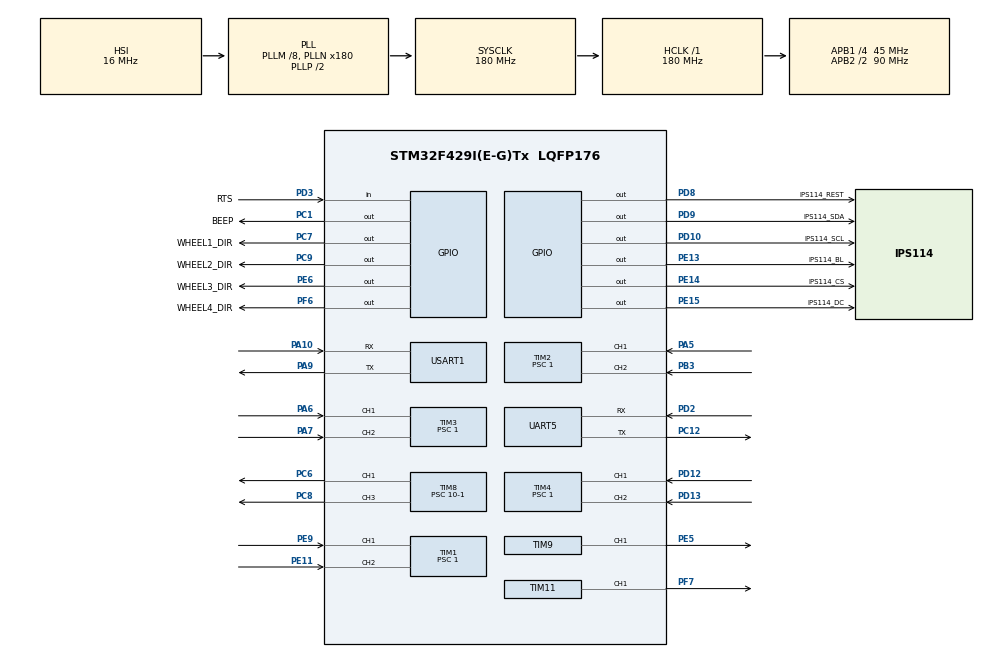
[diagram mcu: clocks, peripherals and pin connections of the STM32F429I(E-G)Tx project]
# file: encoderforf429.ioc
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Mcu.Family=STM32F4
Mcu.Name=STM32F429I(E-G)Tx
Mcu.Package=LQFP176
NVIC.PriorityGroup=NVIC_PRIORITYGROUP_4
NVIC.TIM5_IRQn=true\:0\:0\:false\:false\:true\:true\:true
NVIC.UART5_IRQn=true\:0\:0\:false\:false\:true\:true\:true
PA10.Mode=Asynchronous
PA10.Signal=USART1_RX
PA13.Mode=Serial_Wire
PA13.Signal=SYS_JTMS-SWDIO
PA14.Mode=Serial_Wire
PA14.Signal=SYS_JTCK-SWCLK
PA5.Signal=S_TIM2_CH1_ETR
PA6.Signal=S_TIM3_CH1
PA7.Signal=S_TIM3_CH2
PA9.Mode=Asynchronous
PA9.Signal=USART1_TX
PB3.Signal=S_TIM2_CH2
PC1.GPIO_Label=BEEP
PC1.Signal=GPIO_Output
PC12.Mode=Asynchronous
PC12.Signal=UART5_TX
PC6.Signal=S_TIM8_CH1
PC7.GPIO_Label=WHEEL1_DIR
PC7.Signal=GPIO_Output
PC8.Signal=S_TIM8_CH3
PC9.GPIO_Label=WHEEL2_DIR
PC9.Signal=GPIO_Output
PD10.GPIO_Label=IPS114_SCL
PD10.Signal=GPIO_Output
PD12.Signal=S_TIM4_CH1
PD13.Signal=S_TIM4_CH2
PD2.Mode=Asynchronous
PD2.Signal=UART5_RX
PD3.GPIO_Label=RTS
PD3.Signal=GPIO_Input
PD8.GPIO_Label=IPS114_REST
PD8.Signal=GPIO_Output
PD9.GPIO_Label=IPS114_SDA
PD9.Signal=GPIO_Output
PE11.Signal=S_TIM1_CH2
PE13.GPIO_Label=IPS114_BL
PE13.Signal=GPIO_Output
PE14.GPIO_Label=IPS114_CS
PE14.Signal=GPIO_Output
PE15.GPIO_Label=IPS114_DC
PE15.Signal=GPIO_Output
PE5.Signal=S_TIM9_CH1
PE6.GPIO_Label=WHEEL3_DIR
PE6.Signal=GPIO_Output
PE9.Signal=S_TIM1_CH1
PF6.GPIO_Label=WHEEL4_DIR
PF6.Signal=GPIO_Output
PF7.Signal=S_TIM11_CH1
PH0/OSC_IN.Mode=HSE-External-Oscillator
PH0/OSC_IN.Signal=RCC_OSC_IN
PH1/OSC_OUT.Mode=HSE-External-Oscillator
PH1/OSC_OUT.Signal=RCC_OSC_OUT
ProjectManager.HeapSize=0x200
ProjectManager.StackSize=0x400
ProjectManager.TargetToolchain=MDK-ARM V5.27
RCC.48MHZClocksFreq_Value=90000000
RCC.AHBFreq_Value=180000000
RCC.APB1CLKDivider=RCC_HCLK_DIV4
RCC.APB1Freq_Value=45000000
RCC.APB1TimFreq_Value=90000000
RCC.APB2CLKDivider=RCC_HCLK_DIV2
RCC.APB2Freq_Value=90000000
RCC.APB2TimFreq_Value=180000000
RCC.CortexFreq_Value=180000000
RCC.HCLKFreq_Value=180000000
RCC.HSE_VALUE=25000000
RCC.HSI_VALUE=16000000
RCC.LSE_VALUE=32768
RCC.PLLM=8
RCC.PLLN=180
RCC.SYSCLKFreq_VALUE=180000000
RCC.SYSCLKSource=RCC_SYSCLKSOURCE_PLLCLK
RCC.VCOOutputFreq_Value=360000000
SH.S_TIM11_CH1.0=TIM11_CH1,PWM Generation1 CH1
SH.S_TIM1_CH1.0=TIM1_CH1,Encoder_Interface
SH.S_TIM1_CH2.0=TIM1_CH2,Encoder_Interface
SH.S_TIM2_CH1_ETR.0=TIM2_CH1,Encoder_Interface
SH.S_TIM2_CH2.0=TIM2_CH2,Encoder_Interface
SH.S_TIM3_CH1.0=TIM3_CH1,Encoder_Interface
SH.S_TIM3_CH2.0=TIM3_CH2,Encoder_Interface
SH.S_TIM4_CH1.0=TIM4_CH1,Encoder_Interface
SH.S_TIM4_CH2.0=TIM4_CH2,Encoder_Interface
SH.S_TIM8_CH1.0=TIM8_CH1,PWM Generation1 CH1
SH.S_TIM8_CH3.0=TIM8_CH3,PWM Generation3 CH3
SH.S_TIM9_CH1.0=TIM9_CH1,PWM Generation1 CH1
TIM1.EncoderMode=TIM_ENCODERMODE_TI1
TIM1.IC1Filter=5
TIM1.IC2Filter=5
TIM1.Period=65535
TIM1.Prescaler=1
TIM10.Period=1125-1
TIM10.Prescaler=10-1
TIM11.Channel=TIM_CHANNEL_1
TIM11.Period=1125-1
TIM11.Prescaler=10-1
TIM2.IC1Filter=5
TIM2.IC2Filter=5
TIM2.Prescaler=1
TIM3.IC1Filter=5
TIM3.IC2Filter=5
TIM3.Prescaler=1
TIM4.IC1Filter=5
TIM4.IC2Filter=5
TIM4.Prescaler=1
TIM5.Period=1000-1
TIM5.Prescaler=180-1
TIM8.Channel-PWM\ Generation1\ CH1=TIM_CHANNEL_1
TIM8.Channel-PWM\ Generation3\ CH3=TIM_CHANNEL_3
TIM8.Period=1125-1
TIM8.Prescaler=10-1
TIM8.Pulse-PWM\ Generation1\ CH1=112
TIM9.Channel-PWM\ Generation1\ CH1=TIM_CHANNEL_1
TIM9.Period=1125-1
TIM9.Prescaler=10-1
UART5.VirtualMode=Asynchronous
USART1.VirtualMode=VM_ASYNC
VP_TIM10_VS_ClockSourceINT.Mode=Enable_Timer
VP_TIM11_VS_ClockSourceINT.Mode=Enable_Timer
VP_TIM5_VS_ClockSourceINT.Mode=Internal
board=custom

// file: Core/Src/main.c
/* USER CODE BEGIN Header */
/**
  ******************************************************************************
  * @file           : main.c
  * @brief          : Main program body
  ******************************************************************************
  * @attention
  *
  * <h2><center>&copy; Copyright (c) 2021 STMicroelectronics.
  * All rights reserved.</center></h2>
  *
  * This software component is licensed by ST under BSD 3-Clause license,
  * the "License"; You may not use this file except in compliance with the
  * License. You may obtain a copy of the License at:
  *                        opensource.org/licenses/BSD-3-Clause
  *
  ******************************************************************************
  */
/* USER CODE END Header */
#include "main.h"
#include "tim.h"
#include "usart.h"
#include "gpio.h"

/* USER CODE BEGIN Includes */

#include "Mcnamu_wheel_drive.h"
#include "SEEKFREE_IPS114_SPI.h"

/* USER CODE END Includes */

/* USER CODE BEGIN PM */

int encoder1, encoder2, encoder3, encoder4, encoder_filter1[5], encoder_filter2[5], encoder_filter3[5], encoder_filter4[5], encoder_filter_index = 0;
float wheel1_speed = 0, wheel2_speed = 0, wheel3_speed = 0, wheel4_speed = 0;

PID wheel_speed_1;
PID wheel_speed_2;
PID wheel_speed_3;
PID wheel_speed_4;

/* USER CODE END PM */

void SystemClock_Config(void);

/* USER CODE BEGIN 0 */

/* printf重定向 */
int fputc(int ch, FILE *f)
{
	uint8_t temp[1] = {ch};
	HAL_UART_Transmit(&huart1, temp, 1, 2);//huart1需要根据你的配置修改
	return ch;
}

/**
 * @breif:			编码器数值读取
 *
 */
int Read_Encoder(uint8_t TIMx)
{
	int Encoder_TIM;
	switch(TIMx) {
		case 1: Encoder_TIM= (short)TIM1 -> CNT;  TIM1 -> CNT=0;break;
		case 2: Encoder_TIM= (short)TIM2 -> CNT;  TIM2 -> CNT=0;break;
		case 3: Encoder_TIM= (short)TIM3 -> CNT;  TIM3 -> CNT=0;break;
		case 4: Encoder_TIM= (short)TIM4 -> CNT;  TIM4 -> CNT=0;break;
		case 5: Encoder_TIM= (short)TIM5 -> CNT;  TIM5 -> CNT=0;break;
		case 6: Encoder_TIM= (short)TIM6 -> CNT;  TIM6-> CNT=0;break;
		case 7: Encoder_TIM= (short)TIM7 -> CNT;  TIM7 -> CNT=0;break;
		case 8: Encoder_TIM= (short)TIM8 -> CNT;  TIM8 -> CNT=0;break;
		#if 1
		case 9: Encoder_TIM= (short)TIM9 -> CNT;  TIM9 -> CNT=0;break;
		case 10: Encoder_TIM= (short)TIM10 -> CNT;  TIM10 -> CNT=0;break;
		case 11: Encoder_TIM= (short)TIM11 -> CNT;  TIM11 -> CNT=0;break;
		case 12: Encoder_TIM= (short)TIM12 -> CNT;  TIM12 -> CNT=0;break;
		case 13: Encoder_TIM= (short)TIM13 -> CNT;  TIM13 -> CNT=0;break;
		case 14: Encoder_TIM= (short)TIM14 -> CNT;  TIM14 -> CNT=0;break;
		#endif
	}
	return Encoder_TIM;
}

/* *****无线串口接收***** */

uint8_t rx_buff;
//uint8_t rx_buff2[3];
void HAL_UART_RxCpltCallback(UART_HandleTypeDef *huart)
{
	int16_t time;

#if 0
	HAL_UART_Transmit(&huart5,&rx_buff,1,100);  /* 数据回传 */
	printf("%d\n", rx_buff2[0]);
	printf("%d\n", rx_buff2[1]);
	printf("%d\n", rx_buff2[2]);
#endif

	printf("%d\n", rx_buff);

	while(HAL_UART_Receive_IT(&huart5,&rx_buff,1) != HAL_OK){
		time++;
		if(time > 200){
			huart1.RxState = HAL_UART_STATE_READY;
			__HAL_UNLOCK(&huart5);
		}
	}
}

void HAL_UART_ErrorCallback(UART_HandleTypeDef *huart)
{
	if(__HAL_UART_GET_FLAG(huart,UART_FLAG_ORE) != RESET)
	{
			__HAL_UART_CLEAR_OREFLAG(huart);
	}
	HAL_UART_Receive_IT(huart,&rx_buff,1);
}

/* 无线串口发送数据函数 */

void wireLessTransmit(uint8_t test[])
{
	uint8_t i;
	if(!HAL_GPIO_ReadPin(RTS_GPIO_Port,RTS_Pin)) printf("逐飞科技无线转串口测试\r\n");//一次发送数据最好不要超过30字节
	if(!HAL_GPIO_ReadPin(RTS_GPIO_Port,RTS_Pin)){
		i = 0;
		while(test[i] != '\0'){
			while(HAL_GPIO_ReadPin(RTS_GPIO_Port,RTS_Pin));   //等待模块可以接受数据
			HAL_UART_Transmit(&huart5,&test[i],1,100);
			i++;
		}
	}
}

/* 为PID变量申请内存，范围指向pp的指针 */
void PIDInit (PID *pp)
{
	memset(pp, 0, sizeof(PID)); /* 字节的内容全部设置为ch指定的ASCII值，块的大小由第三个参数指定 */
}

double PIDCalc(PID *pp, double NextPoint);

/* USER CODE END 0 */

int main(void)
{

  /* MCU Configuration--------------------------------------------------------*/

  /* Reset of all peripherals, Initializes the Flash interface and the Systick. */
  HAL_Init();

  /* Configure the system clock */
  SystemClock_Config();

  /* Initialize all configured peripherals */
  MX_GPIO_Init();
  MX_USART1_UART_Init();
  MX_TIM1_Init();
  MX_TIM5_Init();
  MX_TIM8_Init();
  MX_TIM2_Init();
  MX_TIM3_Init();
  MX_TIM4_Init();
  MX_TIM9_Init();
  MX_TIM10_Init();
  MX_TIM11_Init();
  MX_UART5_Init();
  /* USER CODE BEGIN 2 */

	/* IPS初始化 */
	ips114_init();
	ips114_clear(WHITE);
	ips114_showstr(0,0,(uint8 *)"strat init");
	HAL_Delay(100);

	/* 启动uart5中断 */
	HAL_UART_Receive_IT(&huart5,&rx_buff,1);
	__HAL_UART_ENABLE_IT(&huart5, UART_IT_ERR);

	HAL_TIM_Encoder_Start(&htim1, TIM_CHANNEL_ALL);  /* 启动编码器模式 */
	HAL_TIM_Encoder_Start(&htim2, TIM_CHANNEL_ALL);
	HAL_TIM_Encoder_Start(&htim3, TIM_CHANNEL_ALL);
	HAL_TIM_Encoder_Start(&htim4, TIM_CHANNEL_ALL);
	HAL_TIM_Base_Start_IT(&htim5);   /* 定时器5使能 */
	/* 初始化电机PWM */
	HAL_TIM_PWM_Start(&htim8,TIM_CHANNEL_1);
	HAL_TIM_PWM_Start(&htim8,TIM_CHANNEL_3);
	HAL_TIM_PWM_Start(&htim9,TIM_CHANNEL_1);
	HAL_TIM_PWM_Start(&htim11,TIM_CHANNEL_1);
	__HAL_TIM_SET_COMPARE(&htim8, TIM_CHANNEL_1, 0);
	__HAL_TIM_SET_COMPARE(&htim8, TIM_CHANNEL_3, 0);
	__HAL_TIM_SET_COMPARE(&htim9, TIM_CHANNEL_1, 0);
	__HAL_TIM_SET_COMPARE(&htim11, TIM_CHANNEL_1, 0);

	PIDInit(&wheel_speed_1);
	PIDInit(&wheel_speed_2);
	PIDInit(&wheel_speed_3);
	PIDInit(&wheel_speed_4);

	wheel_speed_1.Kp = 2.55;  /* 0.26 0.035 0.017 */
	wheel_speed_1.Ki = 0.053;
	wheel_speed_1.Kd = 0.03;
	wheel_speed_1.SetPoint = 0;  /* 满速500 */

	wheel_speed_2.Kp = 2.55;
	wheel_speed_2.Ki = 0.053;
	wheel_speed_2.Kd = 0.03;
	wheel_speed_2.SetPoint = 0;  /* 满速500 最低速20 */

	wheel_speed_3.Kp = 2;
	wheel_speed_3.Ki = 0.05;
	wheel_speed_3.Kd = 0.02;
	wheel_speed_3.SetPoint = 0;  /* 15ms 满速500 */

	wheel_speed_4.Kp = 2.55;  // 0.009
	wheel_speed_4.Ki = 0.053;
	wheel_speed_4.Kd = 0.03;  //0.002
	wheel_speed_4.SetPoint = 0;  /* 满速500 */

//	wheel1_speed_set(200);
//	wheel2_speed_set(200);
//	wheel3_speed_set(200);
//	wheel4_speed_set(200);

//	all_directions(35, 90, 0);
//	HAL_GPIO_WritePin(BEEP_GPIO_Port, BEEP_Pin, GPIO_PIN_RESET);

	/* 初始化完成 */
	printf("init\n\n");
	ips114_showstr(0,0,(uint8 *)"init finished");
	HAL_Delay(100);
	ips114_clear(WHITE);
	ips114_display_chinese(0,1*16,16,chinese_test[8],3,RED);
	ips114_display_chinese(0,3*16,16,chinese_test[24],3,BLUE);
	ips114_display_chinese(5*16,3*16,16,chinese_test[14],3,BLUE);
	ips114_display_chinese(10*16,3*16,16,chinese_test[20],2,BLUE);
	ips114_showuint16(0,5,2021);

  /* USER CODE END 2 */

  /* Infinite loop */
  /* USER CODE BEGIN WHILE */
  while(1)
  {
		//printf("%d\n", rx_buff);

#if 1
		if(rx_buff == 0x00) {  /* 停止 */
			wheel1_speed_set(0);
			wheel2_speed_set(0);
			wheel3_speed_set(0);
			wheel4_speed_set(0);
			wheel_speed_1.SetPoint = 0;
			wheel_speed_2.SetPoint = 0;
			wheel_speed_3.SetPoint = 0;
			wheel_speed_4.SetPoint = 0;
		}
		if(rx_buff == 0x01) {  /* 向前 */
			wheel_speed_1.SetPoint = 100;
			wheel_speed_2.SetPoint = 100;
			wheel_speed_3.SetPoint = 100;
			wheel_speed_4.SetPoint = 100;
		}
		if(rx_buff == 0x02) {  /* 向后 */
			wheel_speed_1.SetPoint = -100;
			wheel_speed_2.SetPoint = -100;
			wheel_speed_3.SetPoint = -100;
			wheel_speed_4.SetPoint = -100;
		}
		if(rx_buff == 0x03) {  /* 向左 */
			wheel_speed_1.SetPoint = 100;
			wheel_speed_2.SetPoint = -100;
			wheel_speed_3.SetPoint = 100;
			wheel_speed_4.SetPoint = -100;
		}
		if(rx_buff == 0x04) {  /* 向右 */
			wheel_speed_1.SetPoint = -100;
			wheel_speed_2.SetPoint = 100;
			wheel_speed_3.SetPoint = -100;
			wheel_speed_4.SetPoint = 100;
		}
#endif

    /* USER CODE END WHILE */

  }
}

void SystemClock_Config(void)
{
  RCC_OscInitTypeDef RCC_OscInitStruct = {0};
  RCC_ClkInitTypeDef RCC_ClkInitStruct = {0};

  /** Configure the main internal regulator output voltage
  */
  __HAL_RCC_PWR_CLK_ENABLE();
  __HAL_PWR_VOLTAGESCALING_CONFIG(PWR_REGULATOR_VOLTAGE_SCALE1);
  /** Initializes the RCC Oscillators according to the specified parameters
  * in the RCC_OscInitTypeDef structure.
  */
  RCC_OscInitStruct.OscillatorType = RCC_OSCILLATORTYPE_HSI;
  RCC_OscInitStruct.HSIState = RCC_HSI_ON;
  RCC_OscInitStruct.HSICalibrationValue = RCC_HSICALIBRATION_DEFAULT;
  RCC_OscInitStruct.PLL.PLLState = RCC_PLL_ON;
  RCC_OscInitStruct.PLL.PLLSource = RCC_PLLSOURCE_HSI;
  RCC_OscInitStruct.PLL.PLLM = 8;
  RCC_OscInitStruct.PLL.PLLN = 180;
  RCC_OscInitStruct.PLL.PLLP = RCC_PLLP_DIV2;
  RCC_OscInitStruct.PLL.PLLQ = 4;
  if (HAL_RCC_OscConfig(&RCC_OscInitStruct) != HAL_OK)
  {
    Error_Handler();
  }
  /** Activate the Over-Drive mode
  */
  if (HAL_PWREx_EnableOverDrive() != HAL_OK)
  {
    Error_Handler();
  }
  /** Initializes the CPU, AHB and APB buses clocks
  */
  RCC_ClkInitStruct.ClockType = RCC_CLOCKTYPE_HCLK|RCC_CLOCKTYPE_SYSCLK
                              |RCC_CLOCKTYPE_PCLK1|RCC_CLOCKTYPE_PCLK2;
  RCC_ClkInitStruct.SYSCLKSource = RCC_SYSCLKSOURCE_PLLCLK;
  RCC_ClkInitStruct.AHBCLKDivider = RCC_SYSCLK_DIV1;
  RCC_ClkInitStruct.APB1CLKDivider = RCC_HCLK_DIV4;
  RCC_ClkInitStruct.APB2CLKDivider = RCC_HCLK_DIV2;

  if (HAL_RCC_ClockConfig(&RCC_ClkInitStruct, FLASH_LATENCY_5) != HAL_OK)
  {
    Error_Handler();
  }
}

/* USER CODE BEGIN 4 */

uint16_t tim_cnt_20 = 0;
uint16_t tim_cnt_15 = 0;
uint16_t tim_cnt_10 = 0;
int angle_tmp1 = 90;

void HAL_TIM_PeriodElapsedCallback(TIM_HandleTypeDef *htim)
{
	if(htim->Instance == htim5.Instance){
		tim_cnt_20++;
		tim_cnt_15++;
		tim_cnt_10++;

		/* 15ms编码器采样周期 进行滑动均值滤波 */
		if(tim_cnt_15 >= 15){
			int sum = 0;
			tim_cnt_15 = 0;

			encoder_filter1[encoder_filter_index] = -Read_Encoder(1);
			encoder_filter2[encoder_filter_index] = Read_Encoder(4);
			encoder_filter3[encoder_filter_index] = Read_Encoder(3);
			encoder_filter4[encoder_filter_index] = Read_Encoder(2);
			encoder_filter_index++;
			if(encoder_filter_index >= 5) encoder_filter_index = 0;

			for(uint8_t i = 0; i < 5; i++) {
				sum += encoder_filter1[i];
			}
			encoder1 = sum/5;
			sum = 0;

			for(uint8_t i = 0; i < 5; i++) {
				sum += encoder_filter2[i];
			}
			encoder2 = sum/5;
			sum = 0;

			for(uint8_t i = 0; i < 5; i++) {
				sum += encoder_filter3[i];
			}
			encoder3 = sum/5;
			sum = 0;

			for(uint8_t i = 0; i < 5; i++) {
				sum += encoder_filter4[i];
			}
			encoder4 = sum/5;
			sum = 0;
		}

		/* 速度闭环控制 */
		if(tim_cnt_20 >= 20) {
			tim_cnt_20 = 0;
			printf("%d, %.2f, %d, %.2f, %d, %.2f, %d, %.2f\n", encoder1, wheel1_speed, encoder2, wheel2_speed, encoder3, wheel3_speed, encoder4, wheel4_speed);

#if 1
			wheel1_speed = PIDCalc(&wheel_speed_1, encoder1);
			wheel1_speed = fabs(wheel1_speed);
			if(wheel_speed_1.SetPoint < 0) wheel1_speed *= -1;
			wheel1_speed_set(wheel1_speed);

			wheel2_speed = PIDCalc(&wheel_speed_2, encoder2);
			wheel2_speed = fabs(wheel2_speed);
			if(wheel_speed_2.SetPoint < 0) wheel2_speed *= -1;
			wheel2_speed_set(wheel2_speed);

			wheel3_speed = PIDCalc(&wheel_speed_3, encoder3);
			wheel3_speed = fabs(wheel3_speed);
			if(wheel_speed_3.SetPoint < 0) wheel3_speed *= -1;
			wheel3_speed_set(wheel3_speed);

			wheel4_speed = PIDCalc(&wheel_speed_4, encoder4);
			wheel4_speed = fabs(wheel4_speed);
			if(wheel_speed_4.SetPoint < 0) wheel4_speed *= -1;
			wheel4_speed_set(wheel4_speed);
#endif

			//printf("%d,%d,%d,%d\n", encoder1, encoder2, encoder3, encoder4);
		}

		if(tim_cnt_10 >= 10){
			tim_cnt_10 = 0;
#if 1
			if(rx_buff == 0x05) {
				all_directions(150, angle_tmp1, 0);
				angle_tmp1 += 3;
				if(angle_tmp1 >= 360) angle_tmp1 = 0;
			}
#endif

		}
	}
}

/* USER CODE END 4 */

void Error_Handler(void)
{
  __disable_irq();
  while (1)
  {
  }
}

/************************ (C) COPYRIGHT STMicroelectronics *****END OF FILE****/
